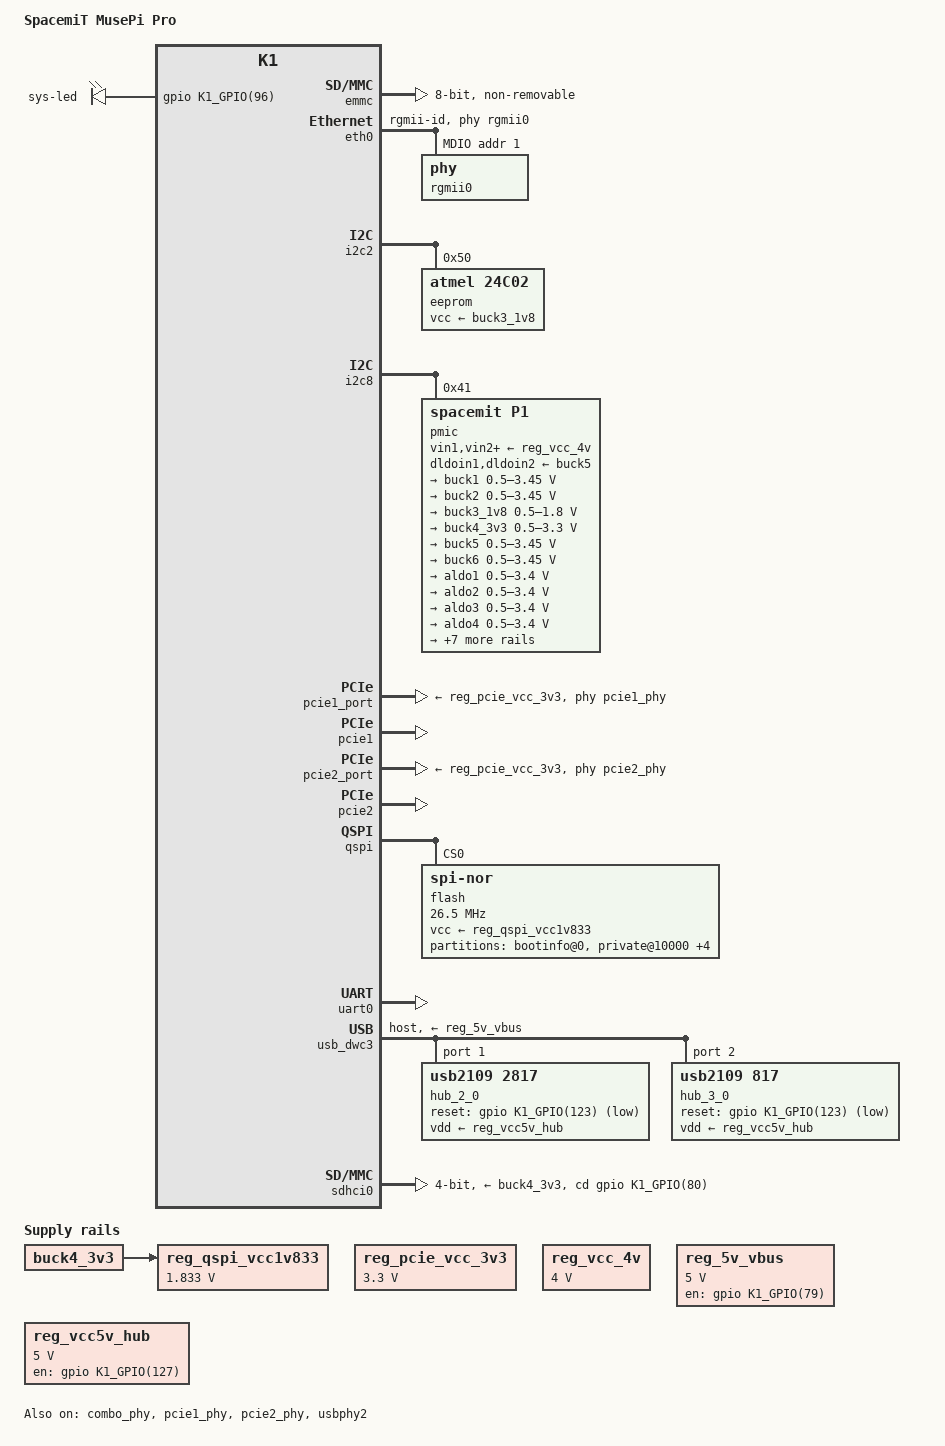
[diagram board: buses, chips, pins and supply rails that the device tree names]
// SPDX-License-Identifier: (GPL-2.0 OR MIT)
/*
 * Copyright (C) 2024 Yangyu Chen <cyy@cyyself.name>
 * Copyright (C) 2025 SpacemiT, Inc
 * Copyright (C) 2025 Troy Mitchell <troy.mitchell@linux.spacemit.com>
 */

/dts-v1/;

#include "k1.dtsi"
#include "k1-pinctrl.dtsi"

/ {
	model = "SpacemiT MusePi Pro";
	compatible = "spacemit,musepi-pro", "spacemit,k1";

	aliases {
		ethernet0 = &eth0;
		serial0 = &uart0;
		i2c2 = &i2c2;
		i2c8 = &i2c8;
		mmc0 = &emmc;
		mmc1 = &sdhci0;
	};

	chosen {
		stdout-path = "serial0:115200n8";
	};

	leds {
		compatible = "gpio-leds";

		led1 {
			label = "sys-led";
			gpios = <&gpio K1_GPIO(96) GPIO_ACTIVE_HIGH>;
			linux,default-trigger = "heartbeat";
			default-state = "on";
		};
	};

	reg_pcie_vcc_3v3: regulator-pcie-vcc3v3 {
		compatible = "regulator-fixed";
		regulator-name = "PCIE_VCC3V3";
		regulator-min-microvolt = <3300000>;
		regulator-max-microvolt = <3300000>;
		regulator-always-on;
	};

	reg_vcc_4v: regulator-vcc-4v {
		compatible = "regulator-fixed";
		regulator-name = "VCC4V0";
		regulator-min-microvolt = <4000000>;
		regulator-max-microvolt = <4000000>;
		regulator-boot-on;
		regulator-always-on;
	};

	reg_qspi_vcc1v833: regulator-qspi-vcc1v833 {
		compatible = "regulator-fixed";
		regulator-name = "QSPI_VCC1833";
		regulator-min-microvolt = <1833000>;
		regulator-max-microvolt = <1833000>;
		regulator-always-on;
		vin-supply = <&buck4_3v3>;
	};

	reg_5v_vbus: regulator-5v-vbus {
		compatible = "regulator-fixed";
		regulator-name = "5V_VBUS";
		regulator-min-microvolt = <5000000>;
		regulator-max-microvolt = <5000000>;
		regulator-always-on;
		gpio = <&gpio K1_GPIO(79) GPIO_ACTIVE_HIGH>; /* USB3_PWREN */
		enable-active-high;
	};

	reg_vcc5v_hub: regulator-vcc5v-hub {
		compatible = "regulator-fixed";
		regulator-name = "VCC5V0_HUB";
		regulator-min-microvolt = <5000000>;
		regulator-max-microvolt = <5000000>;
		regulator-always-on;
		gpio = <&gpio K1_GPIO(127) GPIO_ACTIVE_HIGH>; /* HUB_PWREN */
		enable-active-high;
	};
};

&emmc {
	bus-width = <8>;
	mmc-hs400-1_8v;
	mmc-hs400-enhanced-strobe;
	non-removable;
	no-sd;
	no-sdio;
	status = "okay";
};

&combo_phy {
	status = "okay";
};

&eth0 {
	phy-handle = <&rgmii0>;
	phy-mode = "rgmii-id";
	pinctrl-0 = <&gmac0_cfg>;
	pinctrl-names = "default";
	rx-internal-delay-ps = <0>;
	tx-internal-delay-ps = <0>;
	status = "okay";

	mdio-bus {
		#address-cells = <0x1>;
		#size-cells = <0x0>;

		reset-gpios = <&gpio K1_GPIO(110) GPIO_ACTIVE_LOW>;
		reset-delay-us = <10000>;
		reset-post-delay-us = <100000>;

		rgmii0: phy@1 {
			reg = <0x1>;
		};
	};
};

&pdma {
	status = "okay";
};

&i2c2 {
	pinctrl-0 = <&i2c2_0_cfg>;
	pinctrl-names = "default";
	status = "okay";

	eeprom@50 {
		compatible = "atmel,24c02";
		reg = <0x50>;
		vcc-supply = <&buck3_1v8>; /* EEPROM_VCC1V8 */
		pagesize = <8>;
		read-only;
		size = <256>;

		nvmem-layout {
			compatible = "onie,tlv-layout";

			product-name {
			};

			serial-number {
			};

			mac-address {
				#nvmem-cell-cells = <1>;
			};

			num-macs {
			};
		};
	};
};

&i2c8 {
	pinctrl-0 = <&i2c8_cfg>;
	pinctrl-names = "default";
	status = "okay";

	pmic@41 {
		compatible = "spacemit,p1";
		reg = <0x41>;
		interrupts = <64>;
		vin1-supply = <&reg_vcc_4v>;
		vin2-supply = <&reg_vcc_4v>;
		vin3-supply = <&reg_vcc_4v>;
		vin4-supply = <&reg_vcc_4v>;
		vin5-supply = <&reg_vcc_4v>;
		vin6-supply = <&reg_vcc_4v>;
		aldoin-supply = <&reg_vcc_4v>;
		dldoin1-supply = <&buck5>;
		dldoin2-supply = <&buck5>;

		regulators {
			buck1 {
				regulator-min-microvolt = <500000>;
				regulator-max-microvolt = <3450000>;
				regulator-ramp-delay = <5000>;
				regulator-always-on;
			};

			buck2 {
				regulator-min-microvolt = <500000>;
				regulator-max-microvolt = <3450000>;
				regulator-ramp-delay = <5000>;
				regulator-always-on;
			};

			buck3_1v8: buck3 {
				regulator-min-microvolt = <500000>;
				regulator-max-microvolt = <1800000>;
				regulator-ramp-delay = <5000>;
				regulator-always-on;
			};

			buck4_3v3: buck4 {
				regulator-min-microvolt = <500000>;
				regulator-max-microvolt = <3300000>;
				regulator-ramp-delay = <5000>;
				regulator-always-on;
			};

			buck5: buck5 {
				regulator-min-microvolt = <500000>;
				regulator-max-microvolt = <3450000>;
				regulator-ramp-delay = <5000>;
				regulator-always-on;
			};

			buck6 {
				regulator-min-microvolt = <500000>;
				regulator-max-microvolt = <3450000>;
				regulator-ramp-delay = <5000>;
				regulator-always-on;
			};

			aldo1: aldo1 {
				regulator-min-microvolt = <500000>;
				regulator-max-microvolt = <3400000>;
				regulator-boot-on;
			};

			aldo2 {
				regulator-min-microvolt = <500000>;
				regulator-max-microvolt = <3400000>;
			};

			aldo3 {
				regulator-min-microvolt = <500000>;
				regulator-max-microvolt = <3400000>;
			};

			aldo4 {
				regulator-min-microvolt = <500000>;
				regulator-max-microvolt = <3400000>;
			};

			dldo1 {
				regulator-min-microvolt = <500000>;
				regulator-max-microvolt = <3400000>;
				regulator-boot-on;
			};

			dldo2 {
				regulator-min-microvolt = <500000>;
				regulator-max-microvolt = <3400000>;
			};

			dldo3 {
				regulator-min-microvolt = <500000>;
				regulator-max-microvolt = <3400000>;
			};

			dldo4 {
				regulator-min-microvolt = <500000>;
				regulator-max-microvolt = <3400000>;
				regulator-always-on;
			};

			dldo5 {
				regulator-min-microvolt = <500000>;
				regulator-max-microvolt = <3400000>;
			};

			dldo6 {
				regulator-min-microvolt = <500000>;
				regulator-max-microvolt = <3400000>;
				regulator-always-on;
			};

			dldo7 {
				regulator-min-microvolt = <500000>;
				regulator-max-microvolt = <3400000>;
			};
		};
	};
};

&pcie1_phy {
	pinctrl-names = "default";
	pinctrl-0 = <&pcie1_3_cfg>;
	status = "okay";
};

&pcie1_port {
	phys = <&pcie1_phy>;
	vpcie3v3-supply = <&reg_pcie_vcc_3v3>;
};

&pcie1 {
	status = "okay";
};

&pcie2_phy {
	pinctrl-names = "default";
	pinctrl-0 = <&pcie2_4_cfg>;
	status = "okay";
};

&pcie2_port {
	phys = <&pcie2_phy>;
	vpcie3v3-supply = <&reg_pcie_vcc_3v3>;
};

&pcie2 {
	status = "okay";
};

&qspi {
	pinctrl-names = "default";
	pinctrl-0 = <&qspi_cfg>;
	status = "okay";

	flash@0 {
		compatible = "jedec,spi-nor";
		reg = <0>;
		spi-max-frequency = <26500000>;
		spi-rx-bus-width = <4>;
		spi-tx-bus-width = <4>;
		vcc-supply = <&reg_qspi_vcc1v833>;
		m25p,fast-read;

		partitions {
			compatible = "fixed-partitions";
			#address-cells = <1>;
			#size-cells = <1>;

			bootinfo@0 {
				reg = <0x0 0x10000>;
			};
			private@10000 {
				reg = <0x10000 0x10000>;
			};
			fsbl@20000 {
				reg = <0x20000 0x40000>;
			};
			env@60000 {
				reg = <0x60000 0x10000>;
			};
			opensbi@70000 {
				reg = <0x70000 0x30000>;
			};
			uboot@a0000 {
				reg = <0xa0000 0x760000>;
			};
		};
	};
};

&uart0 {
	pinctrl-0 = <&uart0_2_cfg>;
	pinctrl-names = "default";
	status = "okay";
};

&usbphy2 {
	status = "okay";
};

&usb_dwc3 {
	dr_mode = "host";
	#address-cells = <1>;
	#size-cells = <0>;
	vbus-supply = <&reg_5v_vbus>;
	status = "okay";

	hub_2_0: hub@1 {
		compatible = "usb2109,2817";
		reg = <0x1>;
		vdd-supply = <&reg_vcc5v_hub>;
		peer-hub = <&hub_3_0>;
		reset-gpios = <&gpio K1_GPIO(123) GPIO_ACTIVE_LOW>; /* HUB_RST */
	};

	hub_3_0: hub@2 {
		compatible = "usb2109,817";
		reg = <0x2>;
		vdd-supply = <&reg_vcc5v_hub>;
		peer-hub = <&hub_2_0>;
		reset-gpios = <&gpio K1_GPIO(123) GPIO_ACTIVE_LOW>; /* HUB_RST */
	};
};

&sdhci0 {
	pinctrl-names = "default", "uhs";
	pinctrl-0 = <&mmc1_cfg>;
	pinctrl-1 = <&mmc1_uhs_cfg>;
	bus-width = <4>;
	cd-gpios = <&gpio K1_GPIO(80) (GPIO_ACTIVE_HIGH | GPIO_PULL_UP)>;
	no-mmc;
	no-sdio;
	disable-wp;
	cap-sd-highspeed;
	vmmc-supply = <&buck4_3v3>;
	vqmmc-supply = <&aldo1>;
	sd-uhs-sdr25;
	sd-uhs-sdr50;
	sd-uhs-sdr104;
	status = "okay";
};
